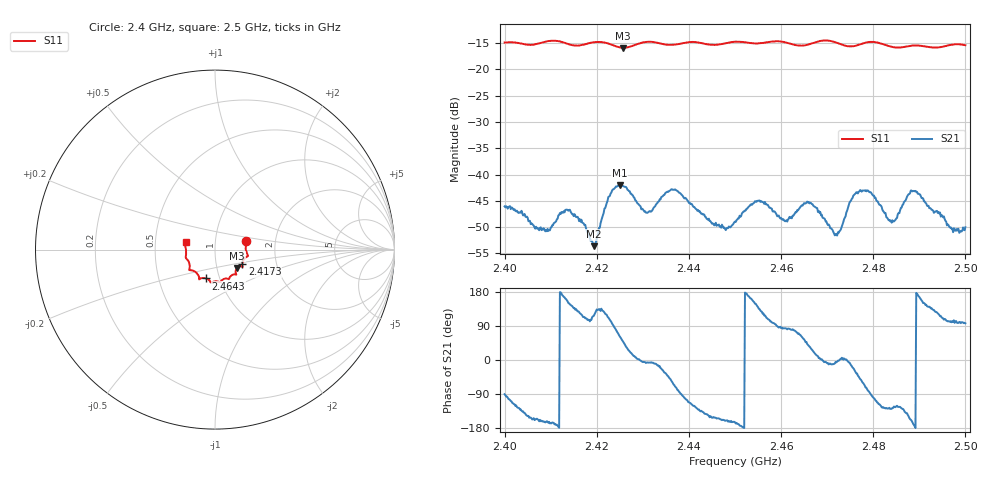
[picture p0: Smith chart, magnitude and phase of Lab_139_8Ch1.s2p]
# Hz S RI R 50
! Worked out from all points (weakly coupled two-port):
!   601 points, 2.4 GHz to 2.5 GHz, reference 50 ohm
!   highest |S21| = -41.98 dB at 2.425 GHz (marker M1); lowest = -53.6 dB at 2.4193 GHz (marker M2)
!   lowest |S11| = -15.9 dB at 2.4257 GHz (marker M3), VSWR 1.38, Z = 62.5 - j13.1 ohm
!   |S11| at or under -10 dB: start of sweep to end of sweep
!   S12 and S22 are empty: the file has one direction only
!   S11 on the Smith chart (normalised r, x): 2.4 GHz: 1.41, +0.14; 2.4173 GHz: 1.34, -0.23; 2.4643 GHz: 0.86, -0.28; 2.5 GHz: 0.72, +0.06
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2.4e9  0.173 0.049  -1.59e-05 -0.00498  0 0  0 0
2.407e9  0.1739 -0.0103  -0.00278 -0.0013  0 0  0 0
2.413667e9  0.169 -0.0452  -0.00418 0.00196  0 0  0 0
2.416667e9  0.1527 -0.0744  -0.00185 0.00323  0 0  0 0
2.417333e9  0.1519 -0.082  -0.00131 0.00303  0 0  0 0
2.419333e9  0.153 -0.0963  -0.000919 0.00187  0 0  0 0
2.425e9  0.1285 -0.0981  0.00374 0.00703  0 0  0 0
2.425667e9  0.1233 -0.1024  0.00506 0.00593  0 0  0 0
2.430667e9  0.1184 -0.1385  0.0043 -0.000596  0 0  0 0
2.433333e9  0.113 -0.1376  0.00535 -0.00134  0 0  0 0
2.436833e9  0.0879 -0.1475  0.00288 -0.00657  0 0  0 0
2.445167e9  0.0543 -0.162  -0.00304 -0.0016  0 0  0 0
2.45e9  0.0289 -0.1809  -0.00343 -0.000959  0 0  0 0
2.454833e9  0.00322 -0.1764  -0.00443 0.00346  0 0  0 0
2.460833e9  -0.0263 -0.1792  0.000381 0.00358  0 0  0 0
2.464333e9  -0.0499 -0.1605  0.00223 0.00449  0 0  0 0
2.466667e9  -0.0759 -0.1593  0.00465 0.00244  0 0  0 0
2.472e9  -0.0884 -0.1563  0.00269 -0.000293  0 0  0 0
2.477333e9  -0.1299 -0.1154  0.00432 -0.00557  0 0  0 0
2.483333e9  -0.1407 -0.0896  -0.00226 -0.0029  0 0  0 0
2.488667e9  -0.1619 -0.0471  -0.00683 -0.00138  0 0  0 0
2.5e9  -0.1642 0.0429  -0.000373 0.00314  0 0  0 0
